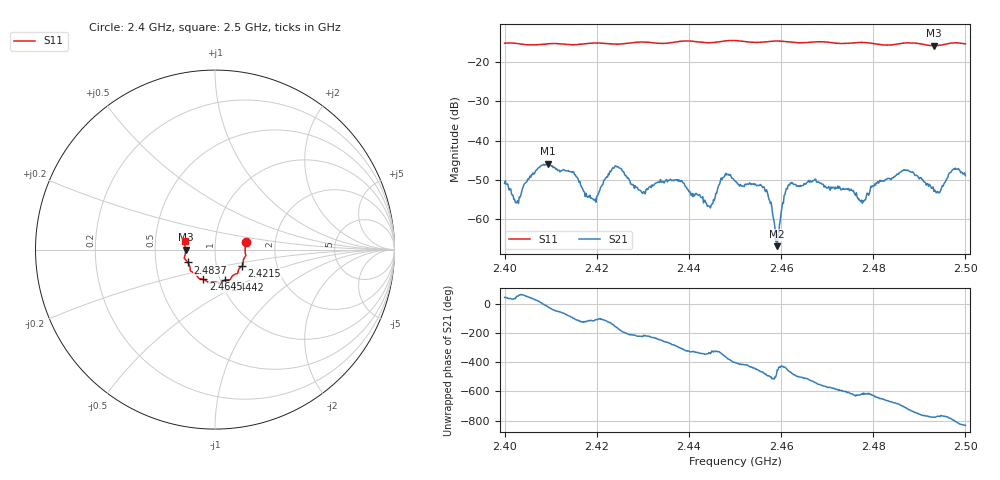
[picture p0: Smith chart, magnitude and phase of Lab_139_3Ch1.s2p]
# Hz S RI R 50
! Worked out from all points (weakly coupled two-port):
!   601 points, 2.4 GHz to 2.5 GHz, reference 50 ohm
!   highest |S21| = -45.90 dB at 2.4093 GHz (marker M1); lowest = -67.1 dB at 2.4592 GHz (marker M2)
!   lowest |S11| = -15.7 dB at 2.4932 GHz (marker M3), VSWR 1.39, Z = 36 - j0.0452 ohm
!   |S11| at or under -10 dB: start of sweep to end of sweep
!   S12 and S22 are empty: the file has one direction only
!   S11 on the Smith chart (normalised r, x): 2.4 GHz: 1.41, +0.12; 2.4215 GHz: 1.33, -0.25; 2.4442 GHz: 1.05, -0.37; 2.4645 GHz: 0.83, -0.29; 2.4837 GHz: 0.73, -0.11; 2.5 GHz: 0.71, +0.07
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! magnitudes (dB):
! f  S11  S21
! 2.4 GHz  -15.1  -51.0
! 2.4028 GHz  -15.2  -55.4
! 2.4093 GHz  -15.2  -45.9
! 2.4167 GHz  -15.3  -51.8
! 2.4193 GHz  -15.1  -55.2
! 2.4215 GHz  -15.1  -50.3
! 2.4243 GHz  -15.3  -46.7
! 2.43 GHz  -14.8  -53.5
! 2.4333 GHz  -15.1  -50.7
! 2.4442 GHz  -15.0  -56.7
! 2.4475 GHz  -14.6  -49.4
! 2.45 GHz  -14.4  -50.4
! 2.4565 GHz  -14.8  -52.9
! 2.4592 GHz  -14.5  -67.1
! 2.4615 GHz  -14.7  -51.5
! 2.4645 GHz  -15.0  -51.5
! 2.4667 GHz  -14.8  -50.6
! 2.4775 GHz  -14.9  -55.3
! 2.4833 GHz  -15.6  -49.7
! 2.4837 GHz  -15.5  -49.8
! 2.4932 GHz  -15.7  -53.0
! 2.5 GHz  -15.3  -49.0
